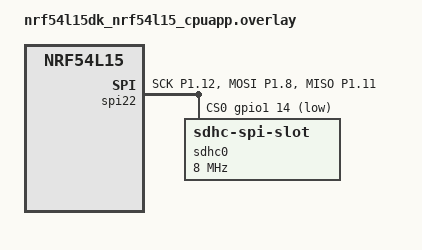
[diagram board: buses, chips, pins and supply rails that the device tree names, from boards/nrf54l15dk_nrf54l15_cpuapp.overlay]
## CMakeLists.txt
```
cmake_minimum_required(VERSION 3.20.0)

find_package(Zephyr REQUIRED HINTS $ENV{ZEPHYR_BASE})
project(hidden_sd)

target_sources(app PRIVATE
  src/main.c
  src/rtt_proto.c
  src/sd_block.c
  src/crypto.c
)
target_include_directories(app PRIVATE src)
```

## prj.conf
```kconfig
# SPI + SD-over-SPI block device, raw sector access only (no filesystem mounted).
# CONFIG_DISK_ACCESS selects CONFIG_DISK_DRIVERS and pulls in the
# disk_access_read/write/ioctl API used by src/sd_block.c. CONFIG_SDMMC_STACK
# selects CONFIG_SDHC; CONFIG_DISK_DRIVER_SDMMC and CONFIG_SPI_SDHC then
# default to y on their own once the devicetree overlay's zephyr,sdmmc-disk /
# zephyr,sdhc-spi-slot nodes are present.
CONFIG_DISK_ACCESS=y
CONFIG_SDMMC_STACK=y

# RTT is the only host link. Buffer 0 stays the normal Zephyr log/console channel;
# buffer 1 (opened by firmware/src/rtt_proto.c) carries the binary command protocol.
CONFIG_USE_SEGGER_RTT=y
CONFIG_RTT_CONSOLE=y
CONFIG_CONSOLE=y
CONFIG_LOG=y
CONFIG_LOG_BACKEND_RTT=y

# No USB device stack anywhere in this build -- this is what keeps the SD card
# from ever being enumerated as a mass-storage device by the host OS.
# (CONFIG_USB_DEVICE_STACK is left unset / default n.)

CONFIG_GPIO=y
CONFIG_MAIN_STACK_SIZE=4096

# Optional per-sector payload encryption (firmware/src/crypto.c), done on the
# nRF54L15's CRACEN hardware engine through the PSA Crypto API. CRACEN is
# auto-selected as the PSA driver for this SoC. AES-256-CTR for the bulk
# cipher, PBKDF2-HMAC-SHA256 to turn the passphrase into a key on-device. No
# RNG is needed: the salt is fixed and the CTR IVs are derived from the sector
# number, so key and IVs are deterministic.
CONFIG_PSA_CRYPTO=y
CONFIG_PSA_WANT_KEY_TYPE_AES=y
CONFIG_PSA_WANT_ALG_CTR=y
CONFIG_PSA_WANT_ALG_PBKDF2_HMAC=y
CONFIG_PSA_WANT_ALG_HMAC=y
CONFIG_PSA_WANT_ALG_SHA_256=y

# INF is the normal setting. DBG here logs every SD command and is only
# useful when diagnosing card identification (it is what exposed the corrupt
# CSD during bring-up); it is high volume and costs time on every transfer,
# so it stays off unless something is actually being debugged.
CONFIG_SD_LOG_LEVEL_INF=y
CONFIG_SDHC_LOG_LEVEL_INF=y

# Modest headroom over the 1024-byte default so the boot/init sequence is
# never truncated. It was 8192 while DBG-level SD logging was enabled; at INF
# that much is unnecessary.
#
# Note: CONFIG_LOG_BACKEND_RTT_BUFFER_SIZE was set here previously and is NOT
# a real Kconfig symbol -- it never appeared in the generated .config and had
# no effect. The RTT log channel is sized by CONFIG_SEGGER_RTT_BUFFER_SIZE_UP
# (default 1024), which is plenty for INF-level output.
CONFIG_LOG_BUFFER_SIZE=2048
```

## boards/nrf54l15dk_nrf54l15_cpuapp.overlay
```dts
/*
 * SD card wired over SPI to the DK's P1 connector, using spi22.
 *
 * ROOT CAUSE OF ALL EARLIER FAILURES (see STATUS.md for the full history):
 * every pin set previously tried was physically wired to the DK's on-board
 * debugger. Per the nRF54L15 DK Hardware User Guide (v0.9.1) Table 9, the
 * two J-Link virtual COM ports occupy these SoC pins:
 *
 *     Signal   Serial Port 0    Serial Port 1
 *     TXD      P0.00            P1.04
 *     RXD      P0.01            P1.05
 *     RTS      P0.02            P1.06
 *     CTS      P0.03            P1.07
 *
 * and "the UART signals are routed to the debugger through analog switches
 * U4 and U5". So the original spi22 attempt used MOSI=P1.06 / MISO=P1.07
 * (the UART1 RTS/CTS lines), and the later spi30 attempt used SCK=P0.00 /
 * CS=P0.01 / MISO=P0.03 (three of the four UART0 lines). In both cases the
 * interface MCU was connected to our SPI signals, which is why an isolated
 * MOSI-MISO jumper loopback returned corrupted data with no SD card attached
 * at all. This was NOT Nordic's Errata No. 100 -- that erratum lists
 * overlapping pins and looked like a match, but the real cause is board-level
 * routing, and it applies equally to the P0 pins the erratum never mentions.
 *
 * WHY NOT spi00/P2: P2 has the most free pins, but spi00 is clocked from the
 * 128MHz PLL with a prescaler range of only 4..126, giving a minimum SCK of
 * ~1.016MHz. SD card identification must run at 400kHz, so spi00 physically
 * cannot drive an SD card -- it fails at init with -EINVAL ("Failed to
 * configure nrfx driver: -22"). spi20/21/22/30 run from 16MHz with a 2..126
 * prescaler (min ~127kHz), so they can produce the required 400kHz.
 *
 * PIN SELECTION. Peripheral-to-port routing is fixed in silicon (spi00->P2,
 * spi20/21/22->P1, spi30->P0), so a 400kHz-capable instance means P1 or P0.
 * From the DK Hardware User Guide pin maps (Tables 3-5):
 *   - P0 is unusable: P0.00-P0.03 are debugger UART0, P0.04 is Button 3, and
 *     P0.05/P0.06 are not brought out to the connector at all.
 *   - P1: P1.00-P1.03 need solder-bridge/0R rework (32.768kHz crystal, NFC),
 *     P1.04-P1.07 are debugger UART1, leaving P1.08-P1.14. Of those, P1.11
 *     and P1.12 are completely free, and the rest drive Buttons 2/1/0 and
 *     LEDs 1/3 -- all of which are electrically harmless to reuse:
 *     per the User Guide the buttons are a bare switch to GND with NO
 *     external pull-up and no debounce capacitor, and the LEDs are buffered
 *     by a MOSFET whose gate has only a 1M resistor to GND.
 *
 * Chosen so that the two free, unloaded pins carry the clock and the input,
 * MOSI sits on the one pin that Errata No. 100 does not list at all (P1.08),
 * and chip select -- an output, and the least timing-critical signal -- takes
 * the remaining LED pin. All four signals are on the P1 header.
 *
 * Wiring -- ALL FOUR SIGNALS ARE ON THE P1 HEADER:
 *   SCK  -> P1.12  (free)
 *   MOSI -> P1.08  (Button 2, disabled below)
 *   MISO -> P1.11  (free)
 *   CS   -> P1.14  (LED 3, disabled below -- LED 3 would otherwise track CS)
 *   3V3  -> any VDDIO/VCC pin (see the DK silkscreen)
 *   GND  -> any GND pin
 *
 * Do not press Button 2 while the SD card is in use: it would short MOSI to
 * ground.
 *
 * For the Waveshare 3947 (Micro SD Storage Board), its native-SD-bus pin
 * labels map as: CLK->SCK, CMD->MOSI, D0->MISO, D3->CS. D1, D2 and the
 * separate CD (card-detect switch) pin are unused in SPI mode and must be
 * left unconnected -- the board already has 10K pull-ups on them. See README.
 */

&button2 {
	/* P1.08 is reused as MOSI below. */
	status = "disabled";
};

&led3 {
	/* P1.14 is reused as the SD card's chip select below. */
	status = "disabled";
};

&pinctrl {
	spi22_sd: spi22_sd {
		group1 {
			psels = <NRF_PSEL(SPIM_SCK, 1, 12)>,
				<NRF_PSEL(SPIM_MOSI, 1, 8)>;
		};

		group2 {
			psels = <NRF_PSEL(SPIM_MISO, 1, 11)>;
			/* The card drives MISO only while it is selected; hold the
			 * line high the rest of the time. The Waveshare board also
			 * has its own 10K pull-up on D0 -- both is fine. */
			bias-pull-up;
		};
	};

	spi22_sd_sleep: spi22_sd_sleep {
		group1 {
			psels = <NRF_PSEL(SPIM_SCK, 1, 12)>,
				<NRF_PSEL(SPIM_MISO, 1, 11)>,
				<NRF_PSEL(SPIM_MOSI, 1, 8)>;
			low-power-enable;
		};
	};
};

&spi22 {
	status = "okay";
	pinctrl-0 = <&spi22_sd>;
	pinctrl-1 = <&spi22_sd_sleep>;
	pinctrl-names = "default", "sleep";
	cs-gpios = <&gpio1 14 GPIO_ACTIVE_LOW>;

	/* NOTE: overrun-character is deliberately NOT set here -- it must stay
	 * at the nRF default of 0xff. Zephyr's sdhc_spi_rx() passes a NULL TX
	 * buffer when reading, so every byte clocked out during a read is the
	 * overrun character, and the SD SPI protocol requires the host to hold
	 * MOSI high (0xff) while receiving. An earlier revision of this file
	 * copied "overrun-character = <0x00>" from Nordic's SPI loopback test
	 * overlay, which is correct for that test but breaks SD entirely. */

	sdhc0: sdhc@0 {
		compatible = "zephyr,sdhc-spi-slot";
		reg = <0>;
		status = "okay";
		/* Card identification always runs at 400kHz regardless of this
		 * value; it only caps the post-init clock. 8MHz is spi22's
		 * ceiling (16MHz base clock, minimum prescaler of 2). The
		 * earlier 4MHz setting was a guess from when the link was
		 * believed to be marginal; the real fault was a 1.8V supply, so
		 * there is no reason to stay below the peripheral's limit. */
		spi-max-frequency = <8000000>;

		mmc {
			compatible = "zephyr,sdmmc-disk";
			disk-name = "SD";
			status = "okay";
		};
	};
};
```

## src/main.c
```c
#include <zephyr/kernel.h>
#include <zephyr/logging/log.h>
#include <zephyr/drivers/spi.h>
#include <zephyr/drivers/gpio.h>
#include <string.h>

#include "rtt_proto.h"
#include "sd_block.h"
#include "crypto.h"

LOG_MODULE_REGISTER(main, LOG_LEVEL_INF);

/* Bring-up diagnostic, off by default. Set to 1 to run a raw SPI loopback
 * test at boot that is independent of the SD card and the SD driver: it
 * transmits a known pattern and checks it comes back byte-for-byte.
 *
 * To use it, set this to 1 and bridge MOSI (P1.08) directly to MISO (P1.11)
 * with a single jumper at the DK's P1 header, with the SD card and all its
 * wiring disconnected. A PASS proves the SPI22 peripheral and those pins are
 * electrically sound, which cleanly separates "the bus is broken" from "the
 * card or its wiring is broken" -- this is what identified the debugger-UART
 * pin conflict documented in the board overlay. With the card connected
 * instead of the jumper this reports FAIL with all-0xff, which is expected
 * (the card holds MISO high and never echoes), so it is only meaningful in
 * the jumper configuration above. */
#define SD_SPI_LOOPBACK_TEST 0

#if DT_NODE_HAS_STATUS_OKAY(DT_NODELABEL(sdhc0))
/* Send the SD spec's mandatory power-up clocks with chip select held
 * INACTIVE, before the SD stack initialises the card.
 *
 * Zephyr's sdhc_spi_init_card() already tries to do this: it sets
 * SPI_CS_ACTIVE_HIGH on the SPI config, sends 10 bytes of 0xff, then clears
 * the flag again -- the comment there even says "the initial 74 clocks must
 * be sent while CS is high". But that flag is never honoured on this
 * platform. The generic CS handling in drivers/spi/spi_context.h does only:
 *
 *     if (on)  gpio_pin_set_dt(&ctx->config->cs.gpio, 1);
 *     else     gpio_pin_set_dt(&ctx->config->cs.gpio, 0);
 *
 * with no reference to SPI_CS_ACTIVE_HIGH, and neither spi_context nor
 * spi_nrfx_spim.c implements it (only a few vendor drivers do). So on nRF
 * those priming clocks are actually clocked out with CS asserted LOW, which
 * violates the SD initialisation sequence. Cards that enforce it never enter
 * SPI mode cleanly and then answer with malformed CID/CSD registers -- the
 * CSD comes back failing its own CRC7, which decodes to a bogus capacity and
 * a bogus addressing mode. See zephyrproject-rtos/zephyr issue #29946.
 *
 * The fix is to clock the card ourselves with CS driven inactive by hand,
 * using a spi_config that carries no CS at all so the SPI driver cannot
 * touch the line. Once the card is properly in SPI mode, the SD stack's own
 * (still slightly wrong) init sequence is harmless. */
static int sd_spi_prime_bus(void)
{
	const struct device *bus = DEVICE_DT_GET(DT_BUS(DT_NODELABEL(sdhc0)));
	const struct gpio_dt_spec cs =
		GPIO_DT_SPEC_GET_BY_IDX(DT_BUS(DT_NODELABEL(sdhc0)), cs_gpios, 0);
	/* No .cs member set -> spi_cs_is_gpio() is false -> the driver leaves
	 * the chip select line entirely alone during this transfer. */
	struct spi_config cfg = {
		.frequency = 400000,
		.operation = SPI_WORD_SET(8) | SPI_TRANSFER_MSB | SPI_OP_MODE_MASTER,
		.slave = 0,
	};
	static uint8_t ones[10];
	struct spi_buf tx_b = {.buf = ones, .len = sizeof(ones)};
	struct spi_buf_set tx = {.buffers = &tx_b, .count = 1};
	int ret;

	if (!device_is_ready(bus) || !gpio_is_ready_dt(&cs)) {
		LOG_ERR("PRIME: bus or CS not ready");
		return -ENODEV;
	}

	/* GPIO_OUTPUT_INACTIVE respects the pin's GPIO_ACTIVE_LOW flag, so this
	 * drives CS to its deasserted level (physically high on this board). */
	ret = gpio_pin_configure_dt(&cs, GPIO_OUTPUT_INACTIVE);
	if (ret != 0) {
		LOG_ERR("PRIME: could not drive CS inactive (%d)", ret);
		return ret;
	}

	memset(ones, 0xFF, sizeof(ones));
	/* 10 bytes = 80 clocks, comfortably above the 74 the spec requires. */
	ret = spi_transceive(bus, &cfg, &tx, NULL);
	if (ret != 0) {
		LOG_ERR("PRIME: clock burst failed (%d)", ret);
		return ret;
	}

	k_sleep(K_MSEC(2));
	LOG_INF("PRIME: sent 80 power-up clocks with CS deasserted");
	return 0;
}
#endif

#if SD_SPI_LOOPBACK_TEST && DT_NODE_HAS_STATUS_OKAY(DT_NODELABEL(sdhc0))
static void spi_loopback_test(void)
{
	static const struct spi_dt_spec spec = SPI_DT_SPEC_GET(
		DT_NODELABEL(sdhc0), SPI_WORD_SET(8) | SPI_TRANSFER_MSB | SPI_OP_MODE_MASTER, 0);

	if (!spi_is_ready_dt(&spec)) {
		LOG_ERR("LOOPBACK: SPI bus not ready");
		return;
	}

	/* Non-const, RAM-resident on purpose: SPI30's EasyDMA may not be able
	 * to source TX data directly from flash/XIP -- a const array would be
	 * placed in flash by the compiler and could itself explain corrupted
	 * transfers, independent of anything electrical. */
	static uint8_t tx_pattern[8] = {0xA5, 0x5A, 0x00, 0xFF, 0x3C, 0xC3, 0x81, 0x18};
	uint8_t rx_buf[sizeof(tx_pattern)] = {0};

	struct spi_buf tx_b = {.buf = (void *)tx_pattern, .len = sizeof(tx_pattern)};
	struct spi_buf rx_b = {.buf = rx_buf, .len = sizeof(rx_buf)};
	struct spi_buf_set tx_set = {.buffers = &tx_b, .count = 1};
	struct spi_buf_set rx_set = {.buffers = &rx_b, .count = 1};

	int ret = spi_transceive_dt(&spec, &tx_set, &rx_set);

	if (ret != 0) {
		LOG_ERR("LOOPBACK: spi_transceive failed (%d)", ret);
		return;
	}

	if (memcmp(tx_pattern, rx_buf, sizeof(tx_pattern)) == 0) {
		LOG_INF("LOOPBACK: PASS -- MOSI/MISO/SCK electrically alive, jumper confirmed");
	} else {
		LOG_ERR("LOOPBACK: FAIL -- sent %02x %02x %02x %02x %02x %02x %02x %02x, "
			"got %02x %02x %02x %02x %02x %02x %02x %02x",
			tx_pattern[0], tx_pattern[1], tx_pattern[2], tx_pattern[3],
			tx_pattern[4], tx_pattern[5], tx_pattern[6], tx_pattern[7],
			rx_buf[0], rx_buf[1], rx_buf[2], rx_buf[3],
			rx_buf[4], rx_buf[5], rx_buf[6], rx_buf[7]);
	}
}
#endif

#define REQ_BUF_LEN (7 + SD_BLOCK_MAX_XFER_SECTORS * SD_SECTOR_SIZE + 2)
#define RSP_BUF_LEN (2 + SD_BLOCK_MAX_XFER_SECTORS * SD_SECTOR_SIZE + 2)

static uint8_t req_buf[REQ_BUF_LEN];
static uint8_t rsp_buf[RSP_BUF_LEN];

static uint32_t rd_le32(const uint8_t *p)
{
	return (uint32_t)p[0] | ((uint32_t)p[1] << 8) | ((uint32_t)p[2] << 16) |
	       ((uint32_t)p[3] << 24);
}

static uint16_t rd_le16(const uint8_t *p)
{
	return (uint16_t)(p[0] | ((uint16_t)p[1] << 8));
}

static void wr_le16(uint8_t *p, uint16_t v)
{
	p[0] = (uint8_t)(v & 0xFF);
	p[1] = (uint8_t)(v >> 8);
}

static void wr_le32(uint8_t *p, uint32_t v)
{
	p[0] = (uint8_t)(v & 0xFF);
	p[1] = (uint8_t)((v >> 8) & 0xFF);
	p[2] = (uint8_t)((v >> 16) & 0xFF);
	p[3] = (uint8_t)((v >> 24) & 0xFF);
}

/* Appends status+payload to rsp_buf, appends CRC16, sends it. */
/* Payload area of rsp_buf: everything after the opcode and status bytes. */
#define RSP_PAYLOAD (&rsp_buf[2])

/* Wraps a payload the caller has ALREADY written into RSP_PAYLOAD with the
 * frame header and CRC, then sends it.
 *
 * Split out from send_response() so a sector read can land straight in the
 * response buffer. Previously the READ path staged the data in a second
 * full-size buffer and then memcpy'd it here, which cost an extra
 * SD_BLOCK_MAX_XFER_SECTORS*SD_SECTOR_SIZE of RAM (32KB at the current chunk
 * size) plus a 32KB copy on every read. The WRITE path never needed the
 * detour -- it already passes &req_buf[7] straight to sd_block_write(). */
static void send_response_in_place(uint8_t opcode, uint8_t status, size_t payload_len)
{
	size_t len = 2 + payload_len;

	rsp_buf[0] = (uint8_t)(0x80 | opcode);
	rsp_buf[1] = status;

	uint16_t crc = rtt_proto_crc16(rsp_buf, len);

	wr_le16(&rsp_buf[len], crc);
	len += 2;

	rtt_proto_send_frame(rsp_buf, len);
}

static void send_response(uint8_t opcode, uint8_t status, const uint8_t *payload,
			   size_t payload_len)
{
	if (payload_len > 0) {
		memcpy(RSP_PAYLOAD, payload, payload_len);
	}
	send_response_in_place(opcode, status, payload_len);
}

int main(void)
{
	/* Let SPI/GPIO/clock hardware fully settle after boot before the very
	 * first SD-over-SPI attempt. */
	k_sleep(K_MSEC(500));

#if SD_SPI_LOOPBACK_TEST && DT_NODE_HAS_STATUS_OKAY(DT_NODELABEL(sdhc0))
	spi_loopback_test();
#endif

#if DT_NODE_HAS_STATUS_OKAY(DT_NODELABEL(sdhc0))
	/* Must run before the SD stack touches the card -- see the comment on
	 * sd_spi_prime_bus() for why Zephyr's own priming does not work here. */
	(void)sd_spi_prime_bus();
#endif

	/* Retry the whole init sequence a few times before giving up --
	 * cheap robustness against a transient failure on any single
	 * attempt. */
	int rc = -1;

	for (int attempt = 1; attempt <= 5 && rc != 0; attempt++) {
		rc = sd_block_init();
		if (rc != 0) {
			LOG_WRN("SD init attempt %d/5 failed (%d), retrying", attempt, rc);
			k_sleep(K_MSEC(200));
		}
	}

	if (rc != 0) {
		LOG_ERR("SD init failed (%d) -- RTT link still up, INFO/READ/WRITE will report errors", rc);
	}

	if (crypto_init() != 0) {
		LOG_ERR("crypto init failed -- encrypted READ/WRITE will report errors");
	}

	rtt_proto_init();
	LOG_INF("Hidden SD relay ready on RTT channel %d", RTT_PROTO_CHANNEL);

	while (1) {
		size_t frame_len = rtt_proto_recv_frame(req_buf, sizeof(req_buf));

		if (frame_len == 0) {
			continue; /* framing/CRC error, or nothing to do yet */
		}

		/* The received opcode byte carries the ENC flag in its high nibble;
		 * keep it intact for the response (so the host's opcode echo check
		 * passes) but switch on the masked base opcode. */
		uint8_t opcode = req_buf[0];
		uint8_t op = opcode & RTT_PROTO_OP_MASK;
		bool enc = (opcode & RTT_PROTO_FLAG_ENC) != 0;
		uint32_t sector = rd_le32(&req_buf[1]);
		uint16_t count = rd_le16(&req_buf[5]);

		switch (op) {
		case RTT_PROTO_OP_INFO: {
			uint32_t sector_count = 0, sector_size = 0;
			uint8_t payload[8];
			uint8_t status = RTT_PROTO_STATUS_OK;

			if (rc != 0 || sd_block_get_info(&sector_count, &sector_size) != 0) {
				status = RTT_PROTO_STATUS_ERROR;
			}
			wr_le32(&payload[0], sector_count);
			wr_le32(&payload[4], sector_size);
			send_response(opcode, status, payload, sizeof(payload));
			break;
		}
		case RTT_PROTO_OP_READ: {
			if (count == 0 || count > SD_BLOCK_MAX_XFER_SECTORS) {
				send_response(opcode, RTT_PROTO_STATUS_BAD_FRAME, NULL, 0);
				break;
			}
			/* Read straight into the response frame's payload area, so the
			 * sector data is never staged in a separate buffer and copied.
			 *
			 * The host always knows `count` (it's the caller's own request),
			 * so it expects a count*SD_SECTOR_SIZE payload back regardless of
			 * status -- zero-fill on error rather than omitting the payload,
			 * so the response length never depends on success/failure. */
			size_t payload_len = (size_t)count * SD_SECTOR_SIZE;
			uint8_t status = RTT_PROTO_STATUS_OK;

			if (rc != 0 || sd_block_read(sector, count, RSP_PAYLOAD) != 0) {
				status = RTT_PROTO_STATUS_ERROR;
				memset(RSP_PAYLOAD, 0, payload_len);
			} else if (enc) {
				/* Decrypt each sector in place, keyed by its absolute
				 * sector number. A locked/failed key fails the whole
				 * request rather than returning ciphertext as if OK. */
				for (uint32_t i = 0; i < count; i++) {
					if (crypto_decrypt_sector(sector + i,
							RSP_PAYLOAD + i * SD_SECTOR_SIZE) != 0) {
						status = RTT_PROTO_STATUS_ERROR;
						memset(RSP_PAYLOAD, 0, payload_len);
						break;
					}
				}
			}
			send_response_in_place(opcode, status, payload_len);
			break;
		}
		case RTT_PROTO_OP_WRITE: {
			if (count == 0 || count > SD_BLOCK_MAX_XFER_SECTORS) {
				send_response(opcode, RTT_PROTO_STATUS_BAD_FRAME, NULL, 0);
				break;
			}
			uint8_t status = RTT_PROTO_STATUS_OK;

			if (enc) {
				/* Encrypt each sector of the request payload in place
				 * before writing it to the card. */
				for (uint32_t i = 0; i < count; i++) {
					if (crypto_encrypt_sector(sector + i,
							&req_buf[7] + i * SD_SECTOR_SIZE) != 0) {
						status = RTT_PROTO_STATUS_ERROR;
						break;
					}
				}
			}
			if (status == RTT_PROTO_STATUS_OK &&
			    (rc != 0 || sd_block_write(sector, count, &req_buf[7]) != 0)) {
				status = RTT_PROTO_STATUS_ERROR;
			}
			send_response(opcode, status, NULL, 0);
			break;
		}
		case RTT_PROTO_OP_UNLOCK: {
			/* count = passphrase length, payload = passphrase bytes. */
			uint8_t status = RTT_PROTO_STATUS_OK;

			if (count == 0 || crypto_unlock(&req_buf[7], count) != 0) {
				status = RTT_PROTO_STATUS_ERROR;
			}
			send_response(opcode, status, NULL, 0);
			break;
		}
		default:
			send_response(opcode, RTT_PROTO_STATUS_BAD_FRAME, NULL, 0);
			break;
		}
	}

	return 0;
}
```

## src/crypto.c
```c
#include "crypto.h"
#include "sd_block.h"

#include <string.h>
#include <zephyr/logging/log.h>
#include <psa/crypto.h>

LOG_MODULE_REGISTER(crypto, LOG_LEVEL_INF);

/* PBKDF2 iteration count. Runs once per unlock (not per sector). Measured at
 * ~8600 iters/s on this device, so this sets the unlock latency: 20000 ~= 2.3s.
 * The iteration count is only a modest work-factor on top of the real defense,
 * which is passphrase strength -- an attacker brute-forcing offline against the
 * card runs the same PBKDF2 on much faster hardware, so use a strong
 * passphrase. Raising this trades unlock latency for a little more brute-force
 * cost. */
#define PBKDF2_ITERATIONS 20000U

/* Fixed derivation salt baked into the firmware.
 *
 * KNOWN LIMITATION: a fixed salt means the same passphrase always yields the
 * same key on every unit running this firmware, so it gives no per-card
 * uniqueness and does not stop precomputation against this build. It is
 * acceptable for a single-user hidden store where the passphrase is the secret,
 * and can be upgraded later to a random salt stored in a reserved card sector
 * without changing the wire protocol. */
static const uint8_t k_salt[16] = {
	0x6e, 0x52, 0x46, 0x35, 0x34, 0x4c, 0x31, 0x35,
	0x2d, 0x68, 0x69, 0x64, 0x64, 0x65, 0x6e, 0x53,
};

static psa_key_id_t m_key_id;
static bool m_unlocked;

int crypto_init(void)
{
	psa_status_t status = psa_crypto_init();

	if (status != PSA_SUCCESS) {
		LOG_ERR("psa_crypto_init failed: %d", (int)status);
		return -1;
	}
	return 0;
}

int crypto_is_unlocked(void)
{
	return m_unlocked;
}

int crypto_unlock(const uint8_t *passphrase, size_t len)
{
	psa_key_derivation_operation_t op = PSA_KEY_DERIVATION_OPERATION_INIT;
	psa_key_attributes_t pass_attr = PSA_KEY_ATTRIBUTES_INIT;
	psa_key_attributes_t aes_attr = PSA_KEY_ATTRIBUTES_INIT;
	psa_key_id_t pass_key = PSA_KEY_ID_NULL;
	psa_key_id_t new_key = PSA_KEY_ID_NULL;
	psa_status_t status;
	int ret = -1;

	if (passphrase == NULL || len == 0) {
		return -1;
	}

	/* The passphrase enters PSA as a DERIVE-type key, so its bytes are handed
	 * to the KDF as the password input rather than living in a plain buffer. */
	psa_set_key_usage_flags(&pass_attr, PSA_KEY_USAGE_DERIVE);
	psa_set_key_algorithm(&pass_attr, PSA_ALG_PBKDF2_HMAC(PSA_ALG_SHA_256));
	psa_set_key_type(&pass_attr, PSA_KEY_TYPE_DERIVE);
	status = psa_import_key(&pass_attr, passphrase, len, &pass_key);
	if (status != PSA_SUCCESS) {
		LOG_ERR("passphrase import failed: %d", (int)status);
		return -1;
	}

	status = psa_key_derivation_setup(&op, PSA_ALG_PBKDF2_HMAC(PSA_ALG_SHA_256));
	if (status != PSA_SUCCESS) {
		LOG_ERR("kdf setup failed: %d", (int)status);
		goto cleanup;
	}
	status = psa_key_derivation_input_integer(&op, PSA_KEY_DERIVATION_INPUT_COST,
						  PBKDF2_ITERATIONS);
	if (status != PSA_SUCCESS) {
		LOG_ERR("kdf cost failed: %d", (int)status);
		goto cleanup;
	}
	status = psa_key_derivation_input_bytes(&op, PSA_KEY_DERIVATION_INPUT_SALT,
						k_salt, sizeof(k_salt));
	if (status != PSA_SUCCESS) {
		LOG_ERR("kdf salt failed: %d", (int)status);
		goto cleanup;
	}
	status = psa_key_derivation_input_key(&op, PSA_KEY_DERIVATION_INPUT_PASSWORD,
					      pass_key);
	if (status != PSA_SUCCESS) {
		LOG_ERR("kdf password failed: %d", (int)status);
		goto cleanup;
	}

	/* Derive straight into a fresh volatile AES key slot: the 256-bit key is
	 * never exposed as bytes, and it disappears on reboot. */
	psa_set_key_usage_flags(&aes_attr, PSA_KEY_USAGE_ENCRYPT | PSA_KEY_USAGE_DECRYPT);
	psa_set_key_lifetime(&aes_attr, PSA_KEY_LIFETIME_VOLATILE);
	psa_set_key_algorithm(&aes_attr, PSA_ALG_CTR);
	psa_set_key_type(&aes_attr, PSA_KEY_TYPE_AES);
	psa_set_key_bits(&aes_attr, 256);
	status = psa_key_derivation_output_key(&aes_attr, &op, &new_key);
	if (status != PSA_SUCCESS) {
		LOG_ERR("kdf output key failed: %d", (int)status);
		goto cleanup;
	}

	/* Swap in the new key only once it is fully derived. */
	if (m_unlocked) {
		psa_destroy_key(m_key_id);
	}
	m_key_id = new_key;
	m_unlocked = true;
	ret = 0;

cleanup:
	psa_key_derivation_abort(&op);
	psa_destroy_key(pass_key);
	return ret;
}

/* CTR IV for a sector: the sector number in the high 64 bits, low 64 bits zero.
 * A 512-byte sector is 32 AES blocks, so CTR increments the low bits 32 times
 * per sector -- staying inside the zeroed low half -- while distinct sectors
 * differ in the high half, so keystreams never overlap between sectors. */
static void sector_iv(uint32_t sector, uint8_t iv[16])
{
	memset(iv, 0, 16);
	iv[0] = (uint8_t)(sector >> 24);
	iv[1] = (uint8_t)(sector >> 16);
	iv[2] = (uint8_t)(sector >> 8);
	iv[3] = (uint8_t)(sector);
}

static int crypt_sector(uint32_t sector, uint8_t *buf, bool encrypt)
{
	psa_cipher_operation_t op = PSA_CIPHER_OPERATION_INIT;
	uint8_t iv[16];
	size_t out_len = 0;
	size_t fin_len = 0;
	psa_status_t status;

	if (!m_unlocked) {
		return -1;
	}

	status = encrypt ? psa_cipher_encrypt_setup(&op, m_key_id, PSA_ALG_CTR)
			 : psa_cipher_decrypt_setup(&op, m_key_id, PSA_ALG_CTR);
	if (status != PSA_SUCCESS) {
		goto fail;
	}

	sector_iv(sector, iv);
	status = psa_cipher_set_iv(&op, iv, sizeof(iv));
	if (status != PSA_SUCCESS) {
		goto fail;
	}

	/* In place: CTR output length equals input length. */
	status = psa_cipher_update(&op, buf, SD_SECTOR_SIZE, buf, SD_SECTOR_SIZE, &out_len);
	if (status != PSA_SUCCESS) {
		goto fail;
	}
	status = psa_cipher_finish(&op, buf + out_len, SD_SECTOR_SIZE - out_len, &fin_len);
	if (status != PSA_SUCCESS) {
		goto fail;
	}
	return 0;

fail:
	LOG_ERR("sector %s failed: %d", encrypt ? "encrypt" : "decrypt", (int)status);
	psa_cipher_abort(&op);
	return -1;
}

int crypto_encrypt_sector(uint32_t sector, uint8_t *buf)
{
	return crypt_sector(sector, buf, true);
}

int crypto_decrypt_sector(uint32_t sector, uint8_t *buf)
{
	return crypt_sector(sector, buf, false);
}
```

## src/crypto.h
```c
#ifndef CRYPTO_H_
#define CRYPTO_H_

#include <stdint.h>
#include <stddef.h>

/*
 * Optional per-sector payload encryption, backed by the nRF54L15's CRACEN
 * hardware crypto engine through the PSA Crypto API.
 *
 * A passphrase is turned into a 256-bit AES key on-device (PBKDF2-HMAC-SHA256)
 * and held in a volatile PSA key slot for the session only -- never written to
 * flash. Each 512-byte sector is encrypted with AES-256-CTR under an IV derived
 * from its absolute sector number, so the ciphertext is the same size as the
 * plaintext (fits the card 1:1) and any sector can be read or written
 * independently. This provides confidentiality at rest, not integrity: it
 * defends against someone imaging the card, not active tampering.
 */

/* Initializes the PSA crypto subsystem. Call once at startup. Returns 0 on
 * success. */
int crypto_init(void);

/* Derives the session AES key from a passphrase and installs it, replacing any
 * previous key. Returns 0 on success, non-zero on failure (in which case the
 * session is left locked). */
int crypto_unlock(const uint8_t *passphrase, size_t len);

/* True once a session key has been installed by crypto_unlock(). */
int crypto_is_unlocked(void);

/* Encrypt/decrypt one SD_SECTOR_SIZE-byte sector in place, keyed by its
 * absolute sector number. Returns 0 on success, non-zero if locked or on a
 * crypto error. */
int crypto_encrypt_sector(uint32_t sector, uint8_t *buf);
int crypto_decrypt_sector(uint32_t sector, uint8_t *buf);

#endif /* CRYPTO_H_ */
```

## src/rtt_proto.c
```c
#include "rtt_proto.h"
#include "sd_block.h"

#include <string.h>
#include <zephyr/kernel.h>
#include <SEGGER_RTT.h>

#define HEADER_LEN 7 /* opcode(1) + sector(4) + count(2) */
#define CRC_LEN 2

static uint16_t rd_le16(const uint8_t *p)
{
	return (uint16_t)(p[0] | ((uint16_t)p[1] << 8));
}

uint16_t rtt_proto_crc16(const uint8_t *data, size_t len)
{
	uint16_t crc = 0xFFFF;

	for (size_t i = 0; i < len; i++) {
		crc ^= (uint16_t)data[i] << 8;
		for (int b = 0; b < 8; b++) {
			crc = (crc & 0x8000) ? (uint16_t)((crc << 1) ^ 0x1021) : (uint16_t)(crc << 1);
		}
	}
	return crc;
}

void rtt_proto_init(void)
{
	static uint8_t up_buf[SD_BLOCK_MAX_XFER_SECTORS * SD_SECTOR_SIZE + 64];
	static uint8_t down_buf[SD_BLOCK_MAX_XFER_SECTORS * SD_SECTOR_SIZE + 64];

	SEGGER_RTT_ConfigUpBuffer(RTT_PROTO_CHANNEL, "sd_up", up_buf, sizeof(up_buf),
				   SEGGER_RTT_MODE_NO_BLOCK_SKIP);
	SEGGER_RTT_ConfigDownBuffer(RTT_PROTO_CHANNEL, "sd_down", down_buf, sizeof(down_buf),
				     SEGGER_RTT_MODE_NO_BLOCK_SKIP);
}

static void recv_exact(uint8_t *dst, size_t len)
{
	size_t got = 0;

	while (got < len) {
		unsigned n = SEGGER_RTT_Read(RTT_PROTO_CHANNEL, dst + got, len - got);
		if (n == 0) {
			k_sleep(K_USEC(100));
			continue;
		}
		got += n;
	}
}

size_t rtt_proto_recv_frame(uint8_t *buf, size_t max_len)
{
	if (max_len < HEADER_LEN + CRC_LEN) {
		return 0;
	}

	recv_exact(buf, HEADER_LEN);

	/* Mask off the flag bits (ENC/RESP) to get the base opcode; only the
	 * opcode determines how long the payload is. */
	uint8_t op = buf[0] & RTT_PROTO_OP_MASK;
	uint16_t count = rd_le16(&buf[5]);
	size_t payload_len = 0;

	if (op == RTT_PROTO_OP_WRITE) {
		payload_len = (size_t)count * SD_SECTOR_SIZE;
	} else if (op == RTT_PROTO_OP_UNLOCK) {
		/* count is the passphrase length in bytes. */
		payload_len = count;
	}

	size_t total_len = HEADER_LEN + payload_len + CRC_LEN;

	if (total_len > max_len) {
		/* Drain and discard -- malformed/oversized request. */
		uint8_t scratch[64];
		size_t remaining = total_len - HEADER_LEN;

		while (remaining > 0) {
			size_t chunk = remaining < sizeof(scratch) ? remaining : sizeof(scratch);

			recv_exact(scratch, chunk);
			remaining -= chunk;
		}
		return 0;
	}

	recv_exact(buf + HEADER_LEN, payload_len + CRC_LEN);

	uint16_t crc_rx = rd_le16(&buf[total_len - CRC_LEN]);
	uint16_t crc_calc = rtt_proto_crc16(buf, total_len - CRC_LEN);

	if (crc_rx != crc_calc) {
		return 0;
	}

	return total_len;
}

void rtt_proto_send_frame(const uint8_t *buf, size_t len)
{
	size_t sent = 0;

	while (sent < len) {
		unsigned n = SEGGER_RTT_Write(RTT_PROTO_CHANNEL, buf + sent, len - sent);
		if (n == 0) {
			k_sleep(K_USEC(100));
			continue;
		}
		sent += n;
	}
}
```

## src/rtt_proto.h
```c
#ifndef RTT_PROTO_H_
#define RTT_PROTO_H_

#include <stdint.h>
#include <stddef.h>

/*
 * Binary frame protocol carried over a dedicated SEGGER RTT up/down buffer
 * pair (buffer index RTT_PROTO_CHANNEL), separate from the default RTT
 * console/log channel (buffer 0).
 *
 * Request frame:  [opcode:1][sector:4 LE][count:2 LE][payload...][crc16:2 LE]
 * Response frame: [opcode|0x80:1][status:1][payload...][crc16:2 LE]
 *
 * payload on a READ response is `count * RTT_PROTO_SECTOR_SIZE` bytes of
 * sector data. payload on a WRITE request is the same, sent by the host.
 *
 * The opcode byte carries two flag bits in its high nibble: 0x80 marks a
 * response (set by the firmware on the way back), and 0x40 (RTT_PROTO_FLAG_ENC)
 * is set by the host on a READ/WRITE request to ask the firmware to transparently
 * decrypt/encrypt each sector with the session key set by OP_UNLOCK. The low
 * bits are the opcode itself; mask with RTT_PROTO_OP_MASK to recover it.
 */

#define RTT_PROTO_CHANNEL 1

#define RTT_PROTO_OP_INFO   0x00
#define RTT_PROTO_OP_READ   0x01
#define RTT_PROTO_OP_WRITE  0x02
/* Sets the session encryption key from a passphrase. Request reuses the frame
 * header with count = passphrase length and payload = passphrase bytes. */
#define RTT_PROTO_OP_UNLOCK 0x03

/* Flag bits OR-ed into the opcode byte. 0x80 = response marker (firmware ->
 * host). 0x40 = encrypt/decrypt this READ/WRITE with the session key. */
#define RTT_PROTO_FLAG_RESP 0x80
#define RTT_PROTO_FLAG_ENC  0x40
#define RTT_PROTO_OP_MASK   0x3F

#define RTT_PROTO_STATUS_OK    0x00
#define RTT_PROTO_STATUS_ERROR 0x01
#define RTT_PROTO_STATUS_BAD_FRAME 0x02

uint16_t rtt_proto_crc16(const uint8_t *data, size_t len);

/* Initializes the dedicated up/down RTT buffers for the binary protocol. */
void rtt_proto_init(void);

/* Blocks until one full request frame has been read into buf.
 * Returns the number of bytes in the frame, or 0 on a framing/CRC error
 * (caller should just loop and try again). max_len must be large enough for
 * the largest expected request (header + write payload + crc). */
size_t rtt_proto_recv_frame(uint8_t *buf, size_t max_len);

/* Sends one response frame (already including trailing CRC16). */
void rtt_proto_send_frame(const uint8_t *buf, size_t len);

#endif /* RTT_PROTO_H_ */
```

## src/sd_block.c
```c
#include "sd_block.h"

#include <zephyr/storage/disk_access.h>
#include <zephyr/logging/log.h>

LOG_MODULE_REGISTER(sd_block, LOG_LEVEL_INF);

int sd_block_init(void)
{
	int rc = disk_access_init(SD_DISK_NAME);

	if (rc != 0) {
		LOG_ERR("disk_access_init(%s) failed: %d", SD_DISK_NAME, rc);
	}
	return rc;
}

int sd_block_get_info(uint32_t *sector_count, uint32_t *sector_size)
{
	int rc;

	rc = disk_access_ioctl(SD_DISK_NAME, DISK_IOCTL_GET_SECTOR_COUNT, sector_count);
	if (rc != 0) {
		return rc;
	}
	return disk_access_ioctl(SD_DISK_NAME, DISK_IOCTL_GET_SECTOR_SIZE, sector_size);
}

int sd_block_read(uint32_t start_sector, uint32_t count, uint8_t *buf)
{
	return disk_access_read(SD_DISK_NAME, buf, start_sector, count);
}

int sd_block_write(uint32_t start_sector, uint32_t count, const uint8_t *buf)
{
	return disk_access_write(SD_DISK_NAME, buf, start_sector, count);
}
```

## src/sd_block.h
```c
#ifndef SD_BLOCK_H_
#define SD_BLOCK_H_

#include <stdint.h>
#include <stddef.h>

#define SD_DISK_NAME "SD"
#define SD_SECTOR_SIZE 512U

/* Caps a single READ/WRITE request so the RTT buffers have a fixed max size. */
#define SD_BLOCK_MAX_XFER_SECTORS 64U

/* Initializes the disk_access backend. Returns 0 on success. */
int sd_block_init(void);

/* Fills sector_count/sector_size from the disk. Returns 0 on success. */
int sd_block_get_info(uint32_t *sector_count, uint32_t *sector_size);

int sd_block_read(uint32_t start_sector, uint32_t count, uint8_t *buf);
int sd_block_write(uint32_t start_sector, uint32_t count, const uint8_t *buf);

#endif /* SD_BLOCK_H_ */
```
